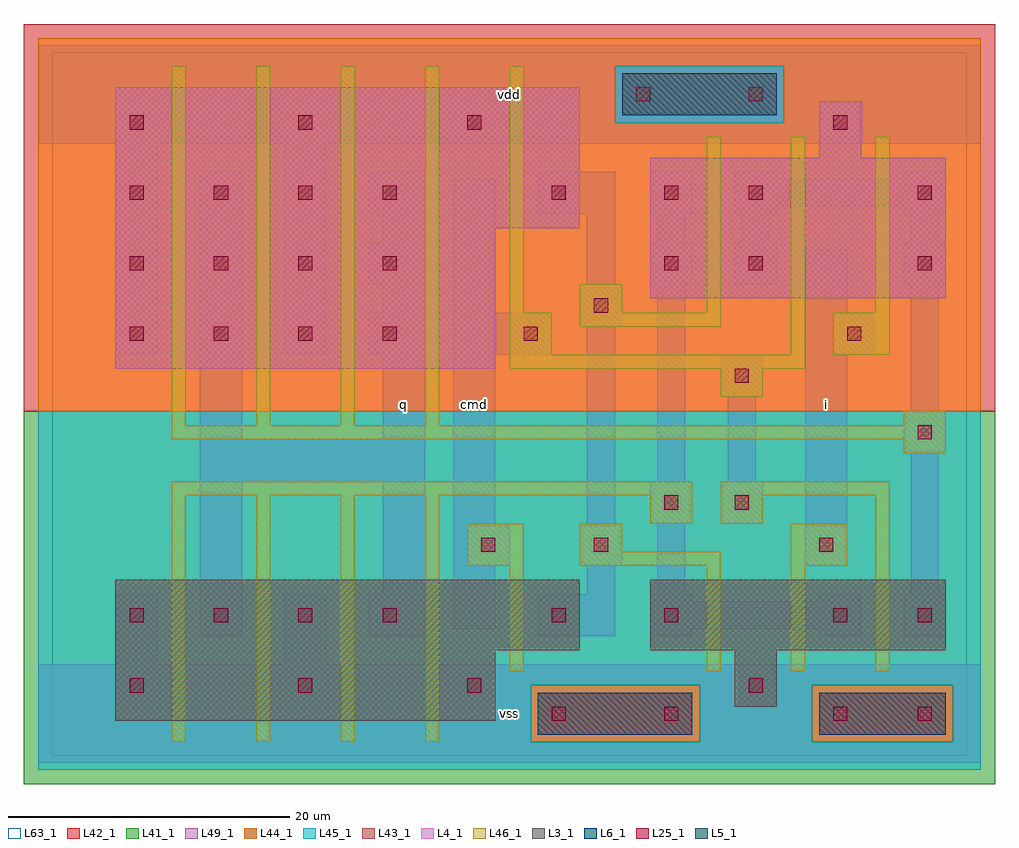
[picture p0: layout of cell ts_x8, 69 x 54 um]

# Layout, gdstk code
import gdstk
lib = gdstk.Library(unit=1e-6, precision=1e-09)
def R(c, l, rs):  # rectangles x0, y0, x1, y1
    for r in rs: c.add(gdstk.rectangle(r[:2], r[2:], *l))
def A(c, l, x, y, w, h, nx, ny, dx, dy):  # array of equal rectangles
    R(c, l, [(x+i*dx, y+j*dy, x+i*dx+w, y+j*dy+h) for i in range(nx) for j in range(ny)])
L3_1 = (3, 1)
L4_1 = (4, 1)
L5_1 = (5, 1)
L6_1 = (6, 1)
L25_1 = (25, 1)
L41_1 = (41, 1)
L42_1 = (42, 1)
L43_1 = (43, 1)
L44_1 = (44, 1)
L45_1 = (45, 1)
L46_1 = (46, 1)
L49_1 = (49, 1)
L63_1 = (63, 1)

ts_x8 = lib.new_cell('ts_x8')
R(ts_x8, L3_1, [(4.5,2.5,31.5,7.5), (48.5,3.5,51.5,7.5), (4.5,7.5,37.5,12.5), (42.5,7.5,63.5,12.5)])
R(ts_x8, L4_1, [(4.5,27.5,31.5,37.5), (42.5,32.5,63.5,42.5), (4.5,37.5,37.5,47.5), (54.5,42.5,57.5,46.5)])
R(ts_x8, L5_1, [(40.5,45.5,51.5,48.5)])
R(ts_x8, L6_1, [(34.5,1.5,45.5,4.5), (54.5,1.5,63.5,4.5)])
A(ts_x8, L25_1, 5.5, 4.5, 1, 1, 3, 2, 12, 40)
A(ts_x8, L25_1, 5.5, 9.5, 1, 1, 4, 2, 6, 20)
A(ts_x8, L25_1, 5.5, 34.5, 1, 1, 4, 2, 6, 5)
R(ts_x8, L25_1, [(35.5,2.5,36.5,3.5), (43.5,2.5,44.5,3.5), (55.5,2.5,56.5,3.5), (61.5,2.5,62.5,3.5), (49.5,4.5,50.5,5.5), (35.5,9.5,36.5,10.5), (43.5,9.5,44.5,10.5), (55.5,9.5,56.5,10.5), (61.5,9.5,62.5,10.5), (30.5,14.5,31.5,15.5), (38.5,14.5,39.5,15.5), (54.5,14.5,55.5,15.5), (43.5,17.5,44.5,18.5), (48.5,17.5,49.5,18.5), (61.5,22.5,62.5,23.5), (48.5,26.5,49.5,27.5), (33.5,29.5,34.5,30.5), (56.5,29.5,57.5,30.5), (38.5,31.5,39.5,32.5), (43.5,34.5,44.5,35.5), (49.5,34.5,50.5,35.5), (61.5,34.5,62.5,35.5), (35.5,39.5,36.5,40.5), (43.5,39.5,44.5,40.5), (49.5,39.5,50.5,40.5), (61.5,39.5,62.5,40.5), (55.5,44.5,56.5,45.5), (41.5,46.5,42.5,47.5), (49.5,46.5,50.5,47.5)])
R(ts_x8, L41_1, [(-2,-2,67,24.5)])
R(ts_x8, L42_1, [(-2,24.5,67,52)])
R(ts_x8, L43_1, [(34.5,1.5,45.5,4.5), (54.5,1.5,63.5,4.5), (4.5,2.5,31.5,7.5), (48.5,3.5,51.5,7.5), (4.5,7.5,37.5,12.5), (42.5,7.5,63.5,12.5), (4.5,27.5,31.5,37.5), (42.5,32.5,63.5,42.5), (4.5,37.5,37.5,47.5), (54.5,42.5,57.5,46.5), (40.5,45.5,51.5,48.5)])
R(ts_x8, L44_1, [(34,1,46,5), (54,1,64,5), (-1,24.5,66,45), (-1,45,40,49), (52,45,66,49), (-1,49,66,51)])
R(ts_x8, L45_1, [(-1,-1,66,1), (-1,1,34,5), (46,1,54,5), (64,1,66,5), (-1,5,66,24.5), (40,45,52,49)])
A(ts_x8, L46_1, 8.5, 1, 1, 17.5, 4, 1, 6, 0)
A(ts_x8, L46_1, 8.5, 23.5, 1, 25.5, 4, 1, 6, 0)
R(ts_x8, L46_1, [(32.5,6,33.5,13.5), (46.5,6,47.5,13.5), (52.5,6,53.5,13.5), (58.5,6,59.5,18.5), (29.5,13.5,33.5,16.5), (37.5,13.5,47.5,14.5), (52.5,13.5,56.5,16.5), (37.5,14.5,40.5,16.5), (42.5,16.5,45.5,18.5), (47.5,16.5,50.5,18.5), (8.5,18.5,45.5,19.5), (47.5,18.5,59.5,19.5), (60.5,21.5,63.5,22.5), (8.5,22.5,63.5,23.5), (60.5,23.5,63.5,24.5), (47.5,25.5,50.5,27.5), (32.5,27.5,53.5,28.5), (32.5,28.5,35.5,31.5), (52.5,28.5,53.5,44), (55.5,28.5,59.5,31.5), (37.5,30.5,47.5,31.5), (32.5,31.5,33.5,49), (37.5,31.5,40.5,33.5), (46.5,31.5,47.5,44), (58.5,31.5,59.5,44)])
A(ts_x8, L49_1, 22.5, 28.5, 4, 3, 1, 3, 0, 5)
R(ts_x8, L49_1, [(-1,-0.5,66,6.5), (4.5,6.5,7.5,11.5), (16.5,6.5,19.5,11.5), (10.5,8.5,13.5,19.5), (22.5,8.5,26.5,11.5), (34.5,8.5,40,11.5), (42.5,8.5,45.5,9), (54.5,8.5,57.5,9), (60.5,8.5,63.5,11.5), (28.5,9,31.5,13.5), (42.5,9,57.5,11), (42.5,11,45.5,11.5), (54.5,11,57.5,11.5), (23.5,11.5,26.5,19.5), (38,11.5,40,13.5), (43,11.5,45,16.5), (61,11.5,63,21.5), (28.5,13.5,32.5,16.5), (37.5,13.5,40.5,16.5), (53.5,13.5,56.5,28.5), (28.5,16.5,31.5,28.5), (38,16.5,40,30.5), (42.5,16.5,45.5,19.5), (47.5,16.5,50.5,19.5), (10.5,19.5,26.5,22.5), (43,19.5,45,33.5), (48,19.5,50,25.5), (60.5,21.5,63.5,24.5), (10.5,22.5,13.5,41.5), (23.5,22.5,26.5,28.5), (61,24.5,63,33.5), (47.5,25.5,50.5,28.5), (4.5,28.5,7.5,43.5), (16.5,28.5,19.5,43.5), (28.5,28.5,35.5,31.5), (53.5,28.5,58.5,31.5), (37.5,30.5,40.5,33.5), (23.5,31.5,26.5,33.5), (28.5,31.5,31.5,41), (53.5,31.5,56.5,36), (38,33.5,40,38.5), (42.5,33.5,45.5,36.5), (48.5,33.5,51.5,36.5), (60.5,33.5,63.5,36.5), (23.5,36.5,26.5,38.5), (43,36.5,45,38.5), (49,36.5,51,38.5), (61,36.5,63,38.5), (34.5,38.5,40,41.5), (42.5,38.5,45.5,41.5), (48.5,38.5,51.5,39), (60.5,38.5,63.5,39), (48.5,39,63.5,41), (48.5,41,51.5,41.5), (60.5,41,63.5,41.5), (-1,43.5,66,50.5)])
R(ts_x8, L63_1, [(0,0,65,50)])
ts_x8.add(gdstk.Label('q', (25,25), layer=49, texttype=1))
ts_x8.add(gdstk.Label('cmd', (30,25), layer=49, texttype=1))
ts_x8.add(gdstk.Label('cmd', (30,25), layer=49, texttype=1))
ts_x8.add(gdstk.Label('q', (25,25), layer=49, texttype=1))
ts_x8.add(gdstk.Label('vss', (32.5,3), layer=49, texttype=1))
ts_x8.add(gdstk.Label('vss', (32.5,3), layer=49, texttype=1))
ts_x8.add(gdstk.Label('vdd', (32.5,47), layer=49, texttype=1))
ts_x8.add(gdstk.Label('vdd', (32.5,47), layer=49, texttype=1))
ts_x8.add(gdstk.Label('i', (55,25), layer=49, texttype=1))
ts_x8.add(gdstk.Label('i', (55,25), layer=49, texttype=1))

lib.write_gds('ts_x8.gds')
